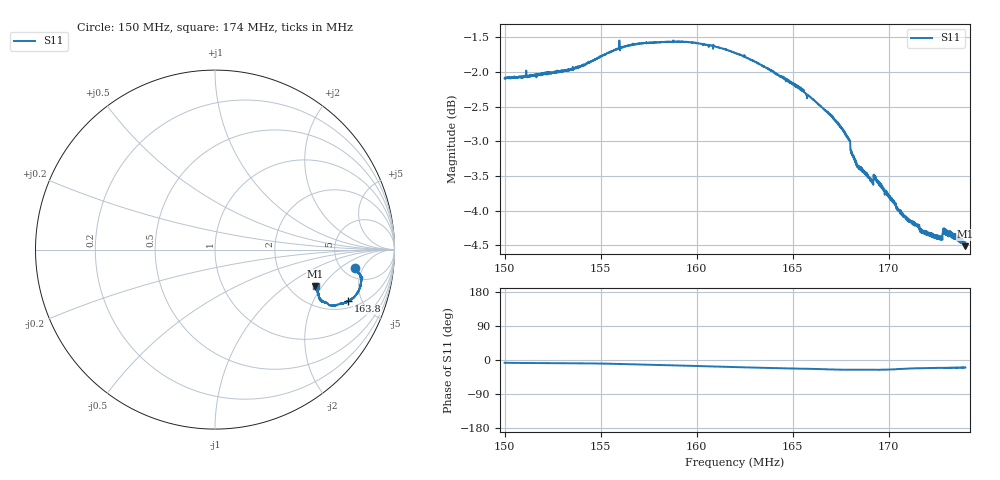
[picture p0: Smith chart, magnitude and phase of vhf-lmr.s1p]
! Calibrated averaged scanner-service zoom
# Hz S RI R 50
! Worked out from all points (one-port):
!   2001 points, 150 MHz to 174 MHz, reference 50 ohm
!   lowest |S11| = -4.5 dB at 174 MHz (marker M1), VSWR 3.93, Z = 137 - j86 ohm
!   |S11| at or under -10 dB: nowhere
!   S11 on the Smith chart (normalised r, x): 150 MHz: 6.51, -3.42; 163.8 MHz: 2.46, -3.87; 174 MHz: 2.75, -1.75
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1.5e8  0.7795 -0.1005
1.53e8  0.7874 -0.1202
1.54392e8  0.7963 -0.1259
1.56e8  0.8116 -0.1463
1.57296e8  0.8149 -0.1758
1.59e8  0.8087 -0.2079
1.6068e8  0.7946 -0.24
1.62e8  0.7767 -0.2622
1.63824e8  0.7431 -0.2869
1.65e8  0.7186 -0.2985
1.67172e8  0.6647 -0.312
1.67856e8  0.6405 -0.3106
1.68e8  0.6357 -0.3094
1.68132e8  0.6249 -0.2986
1.6842e8  0.612 -0.2933
1.6908e8  0.5997 -0.2882
1.69332e8  0.6001 -0.2889
1.69644e8  0.591 -0.2817
1.7028e8  0.5826 -0.2682
1.70532e8  0.5779 -0.2563
1.71e8  0.5751 -0.2397
1.71444e8  0.5729 -0.2293
1.71732e8  0.5671 -0.2244
1.72116e8  0.5654 -0.2213
1.7268e8  0.5653 -0.2142
1.72932e8  0.5669 -0.2168
1.73976e8  0.5593 -0.2022
1.74e8  0.5625 -0.204
